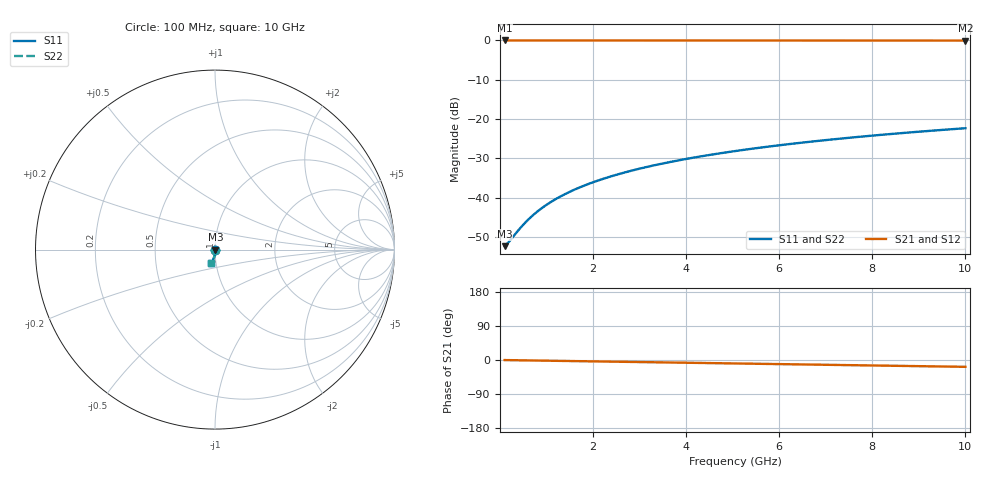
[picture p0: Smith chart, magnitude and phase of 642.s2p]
# Hz S RI R 50.00
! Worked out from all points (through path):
!   100 points, 100 MHz to 10 GHz, reference 50 ohm
!   highest |S21| = -0.02 dB at 100 MHz (marker M1); lowest = -0.1 dB at 10 GHz (marker M2)
!   group delay of S21, straight-line fit = 5.01 ps
!   lowest |S11| = -52.3 dB at 100 MHz (marker M3), VSWR 1.00, Z = 50.2 - j0.0786 ohm
!   |S11| at or under -10 dB: start of sweep to end of sweep
!   |S22| runs from -52.3 to -22.3 dB; largest |S21 - S12| = 1e-13
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1e8  0.00228 -0.000783  0.9977 -0.00314  0.9977 -0.00314  0.00228 -0.000783
2e8  0.00229 -0.00157  0.9977 -0.00629  0.9977 -0.00629  0.00229 -0.00157
4e8  0.00228 -0.00313  0.9976 -0.0126  0.9976 -0.0126  0.00228 -0.00313
5e8  0.00226 -0.00391  0.9975 -0.0157  0.9975 -0.0157  0.00226 -0.00391
6e8  0.00224 -0.0047  0.9975 -0.0189  0.9975 -0.0189  0.00224 -0.0047
7e8  0.00221 -0.00548  0.9974 -0.022  0.9974 -0.022  0.00221 -0.00548
9e8  0.00214 -0.00704  0.9972 -0.0283  0.9972 -0.0283  0.00214 -0.00704
1.1e9  0.00205 -0.0086  0.997 -0.0346  0.997 -0.0346  0.00205 -0.0086
1.3e9  0.00194 -0.0102  0.9967 -0.0408  0.9967 -0.0408  0.00194 -0.0102
1.5e9  0.0018 -0.0117  0.9964 -0.0471  0.9964 -0.0471  0.0018 -0.0117
1.8e9  0.00157 -0.0141  0.9959 -0.0565  0.9959 -0.0565  0.00157 -0.0141
2.1e9  0.00128 -0.0164  0.9952 -0.0659  0.9952 -0.0659  0.00128 -0.0164
2.5e9  0.000839 -0.0195  0.9943 -0.0785  0.9943 -0.0785  0.000839 -0.0195
2.9e9  0.000316 -0.0226  0.9931 -0.091  0.9931 -0.091  0.000316 -0.0226
3.4e9  -0.000447 -0.0264  0.9914 -0.1066  0.9914 -0.1066  -0.000447 -0.0264
4.2e9  -0.00192 -0.0325  0.9882 -0.1315  0.9882 -0.1315  -0.00192 -0.0325
5.1e9  -0.00394 -0.0393  0.9838 -0.1594  0.9838 -0.1594  -0.00394 -0.0393
5.9e9  -0.00605 -0.0452  0.9792 -0.1841  0.9792 -0.1841  -0.00605 -0.0452
6.7e9  -0.00846 -0.0509  0.9739 -0.2086  0.9739 -0.2086  -0.00846 -0.0509
7.5e9  -0.0111 -0.0566  0.968 -0.233  0.968 -0.233  -0.0111 -0.0566
8.4e9  -0.0145 -0.0628  0.9605 -0.2602  0.9605 -0.2602  -0.0145 -0.0628
1e10  -0.0213 -0.0733  0.9454 -0.3079  0.9454 -0.3079  -0.0213 -0.0733
